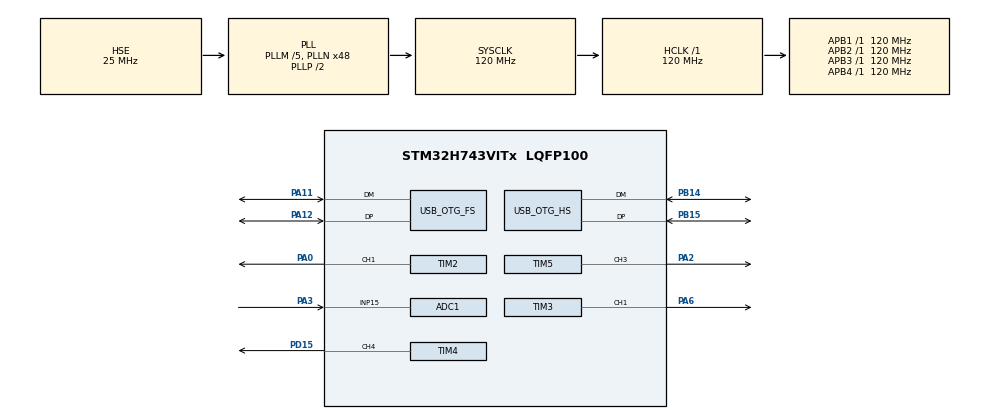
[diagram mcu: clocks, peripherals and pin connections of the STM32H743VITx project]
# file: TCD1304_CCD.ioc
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ADC1.Channel-0\#ChannelRegularConversion=ADC_CHANNEL_15
ADC1.ConversionDataManagement=ADC_CONVERSIONDATA_DMA_CIRCULAR
ADC1.ExternalTrigConv=ADC_EXTERNALTRIG_T4_CC4
ADC1.NbrOfConversionFlag=1
ADC1.OffsetNumber-0\#ChannelRegularConversion=ADC_OFFSET_NONE
ADC1.OffsetSignedSaturation-0\#ChannelRegularConversion=DISABLE
ADC1.Overrun=ADC_OVR_DATA_OVERWRITTEN
ADC1.Rank-0\#ChannelRegularConversion=1
ADC1.SamplingTime-0\#ChannelRegularConversion=ADC_SAMPLETIME_2CYCLES_5
ADC1.master=1
CORTEX_M7.default_mode_Activation=1
Dma.ADC1.0.Direction=DMA_PERIPH_TO_MEMORY
Dma.ADC1.0.EventEnable=DISABLE
Dma.ADC1.0.FIFOMode=DMA_FIFOMODE_DISABLE
Dma.ADC1.0.Instance=DMA1_Stream0
Dma.ADC1.0.MemDataAlignment=DMA_MDATAALIGN_HALFWORD
Dma.ADC1.0.MemInc=DMA_MINC_ENABLE
Dma.ADC1.0.Mode=DMA_CIRCULAR
Dma.ADC1.0.PeriphDataAlignment=DMA_PDATAALIGN_HALFWORD
Dma.ADC1.0.PeriphInc=DMA_PINC_DISABLE
Dma.ADC1.0.Polarity=HAL_DMAMUX_REQ_GEN_RISING
Dma.ADC1.0.Priority=DMA_PRIORITY_LOW
Dma.ADC1.0.RequestNumber=1
Dma.ADC1.0.SignalID=NONE
Dma.ADC1.0.SyncEnable=DISABLE
Dma.ADC1.0.SyncPolarity=HAL_DMAMUX_SYNC_NO_EVENT
Dma.ADC1.0.SyncRequestNumber=1
Dma.ADC1.0.SyncSignalID=NONE
Dma.Request0=ADC1
Mcu.Family=STM32H7
Mcu.Name=STM32H743VITx
Mcu.Package=LQFP100
NVIC.DMA1_Stream0_IRQn=true\:0\:0\:false\:false\:true\:false\:true\:true
NVIC.OTG_FS_IRQn=true\:0\:0\:false\:false\:true\:false\:true\:true
NVIC.OTG_HS_IRQn=true\:0\:0\:false\:false\:true\:false\:true\:true
NVIC.PriorityGroup=NVIC_PRIORITYGROUP_4
NVIC.TIM2_IRQn=true\:0\:0\:false\:false\:true\:true\:true\:true
NVIC.TIM6_DAC_IRQn=true\:15\:0\:false\:false\:true\:false\:true\:true
NVIC.TimeBase=TIM6_DAC_IRQn
NVIC.TimeBaseIP=TIM6
PA0.Signal=S_TIM2_CH1_ETR
PA11.Mode=Device_Only
PA11.Signal=USB_OTG_FS_DM
PA12.Mode=Device_Only
PA12.Signal=USB_OTG_FS_DP
PA2.Signal=S_TIM5_CH3
PA3.Signal=ADCx_INP15
PA6.Signal=S_TIM3_CH1
PB14.Mode=Device_Only_FS
PB14.Signal=USB_OTG_HS_DM
PB15.Mode=Device_Only_FS
PB15.Signal=USB_OTG_HS_DP
PD15.Signal=S_TIM4_CH4
PH0-OSC_IN\ (PH0).Mode=HSE-External-Oscillator
PH0-OSC_IN\ (PH0).Signal=RCC_OSC_IN
PH1-OSC_OUT\ (PH1).Mode=HSE-External-Oscillator
PH1-OSC_OUT\ (PH1).Signal=RCC_OSC_OUT
ProjectManager.HeapSize=0x200
ProjectManager.StackSize=0x400
ProjectManager.TargetToolchain=STM32CubeIDE
RCC.ADCFreq_Value=75000000
RCC.APB1Freq_Value=120000000
RCC.APB2Freq_Value=120000000
RCC.APB3Freq_Value=120000000
RCC.APB4Freq_Value=120000000
RCC.CortexFreq_Value=120000000
RCC.DIVM1=5
RCC.DIVM2=2
RCC.DIVN1=48
RCC.DIVN2=12
RCC.DIVQ1=5
RCC.HCLKFreq_Value=120000000
RCC.HSE_VALUE=25000000
RCC.PLL2FRACN=0
RCC.PLL3FRACN=0
RCC.PLLFRACN=0
RCC.PLLSourceVirtual=RCC_PLLSOURCE_HSE
RCC.SYSCLKFreq_VALUE=120000000
RCC.SYSCLKSource=RCC_SYSCLKSOURCE_PLLCLK
RCC.USBFreq_Value=48000000
SH.ADCx_INP15.0=ADC1_INP15,IN15-Single-Ended
SH.S_TIM2_CH1_ETR.0=TIM2_CH1,PWM Generation1 CH1
SH.S_TIM3_CH1.0=TIM3_CH1,PWM Generation1 CH1
SH.S_TIM4_CH4.0=TIM4_CH4,PWM Generation4 CH4
SH.S_TIM5_CH3.0=TIM5_CH3,PWM Generation3 CH3
TIM2.AutoReloadPreload=TIM_AUTORELOAD_PRELOAD_DISABLE
TIM2.Channel-PWM\ Generation1\ CH1=TIM_CHANNEL_1
TIM2.OCPolarity_1=TIM_OCPOLARITY_LOW
TIM2.Period=886560 - 1
TIM2.Pulse-PWM\ Generation1\ CH1=1200-1
TIM2.TIM_MasterOutputTrigger=TIM_TRGO_UPDATE
TIM2.TIM_MasterSlaveMode=TIM_MASTERSLAVEMODE_ENABLE
TIM3.AutoReloadPreload=TIM_AUTORELOAD_PRELOAD_DISABLE
TIM3.Channel-PWM\ Generation1\ CH1=TIM_CHANNEL_1
TIM3.OCPolarity_1=TIM_OCPOLARITY_HIGH
TIM3.Period=60-1
TIM3.Prescaler=0
TIM3.Pulse-PWM\ Generation1\ CH1=30
TIM4.AutoReloadPreload=TIM_AUTORELOAD_PRELOAD_DISABLE
TIM4.Channel-PWM\ Generation4\ CH4=TIM_CHANNEL_4
TIM4.OCPolarity_4=TIM_OCPOLARITY_HIGH
TIM4.Period=240-1
TIM4.Pulse-PWM\ Generation4\ CH4=60
TIM5.AutoReloadPreload=TIM_AUTORELOAD_PRELOAD_DISABLE
TIM5.Channel-PWM\ Generation3\ CH3=TIM_CHANNEL_3
TIM5.OCPolarity_3=TIM_OCPOLARITY_LOW
TIM5.Period=2400-1
TIM5.Prescaler=0
TIM5.Pulse-PWM\ Generation3\ CH3=480-1
TIM5.TIM_MasterOutputTrigger=TIM_TRGO_RESET
TIM5.TIM_MasterSlaveMode=TIM_MASTERSLAVEMODE_DISABLE
USB_DEVICE.CLASS_NAME_FS=CDC
USB_DEVICE.CLASS_NAME_HS=CDC
USB_DEVICE.VirtualMode-CDC_FS=Cdc
USB_DEVICE.VirtualMode-CDC_HS=Cdc
USB_DEVICE.VirtualModeFS=Cdc_FS
USB_DEVICE.VirtualModeHS=Cdc_HS
USB_OTG_FS.VirtualMode=Device_Only
USB_OTG_HS.VirtualMode-Device_Only_FS=Device_Only_FS
VP_MEMORYMAP_VS_MEMORYMAP.Mode=CurAppReg
VP_SYS_VS_tim6.Mode=TIM6
VP_TIM2_VS_ClockSourceINT.Mode=Internal
VP_TIM3_VS_ClockSourceINT.Mode=Internal
VP_TIM4_VS_ClockSourceINT.Mode=Internal
VP_TIM4_VS_ClockSourceITR.Mode=TriggerSource_ITR1
VP_TIM4_VS_ControllerModeReset.Mode=Reset Mode
VP_TIM5_VS_ClockSourceINT.Mode=Internal
VP_TIM5_VS_ClockSourceITR.Mode=TriggerSource_ITR1
VP_TIM5_VS_ControllerModeReset.Mode=Reset Mode
VP_USB_DEVICE_VS_USB_DEVICE_CDC_FS.Mode=CDC_FS
VP_USB_DEVICE_VS_USB_DEVICE_CDC_HS.Mode=CDC_HS
board=custom

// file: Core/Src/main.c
/* USER CODE BEGIN Header */
/**
 ******************************************************************************
 * @file           : main.c
 * @brief          : Main program body for TCD1304 CCD Driver (STM32H7)
 ******************************************************************************
 */
/* USER CODE END Header */
#include "main.h"
#include "usb_device.h"

/* USER CODE BEGIN Includes */
#include "usbd_cdc_if.h"
#include <stdio.h>
#include <string.h>
/* USER CODE END Includes */

/* USER CODE BEGIN PTD */
#define CCD_BUFFER_SIZE 3694 // 32 Dummies + 3648 Pixels + 14 Dummies

#pragma pack(push, 1)
typedef struct {
  uint16_t magic;     // 0xABCD
  uint16_t frame_num; // Rolling frame counter
  uint16_t pixels[CCD_BUFFER_SIZE];
} CCD_Frame_t;
#pragma pack(pop)
/* USER CODE END PTD */

ADC_HandleTypeDef hadc1;
DMA_HandleTypeDef hdma_adc1;

TIM_HandleTypeDef htim2;
TIM_HandleTypeDef htim3;
TIM_HandleTypeDef htim4;
TIM_HandleTypeDef htim5;

/* USER CODE BEGIN PV */
// Double-Buffer DMA: Two buffers in SRAM3 (non-cached on H7)
__attribute__((section(".sram3"),
               aligned(32))) uint16_t Buffer_A[CCD_BUFFER_SIZE];
__attribute__((section(".sram3"),
               aligned(32))) uint16_t Buffer_B[CCD_BUFFER_SIZE];

// USB Command Buffers
#define CMD_BUF_SIZE 64

// Application State
volatile uint8_t frame_ready = 0; // Set by ICG interrupt when frame is complete
volatile uint16_t *safe_buffer = Buffer_B; // Points to buffer safe to read
uint16_t frame_counter = 0;
CCD_Frame_t ccd_frame;

// Mode Control
volatile uint8_t ccd_mode = 0; // 0=Fast, 1=Stable(OneShot), 2=LongExposure
volatile uint8_t mode_update_pending = 0;

/* USER CODE END PV */

void SystemClock_Config(void);
static void MPU_Config(void);
static void MX_GPIO_Init(void);
static void MX_DMA_Init(void);
static void MX_ADC1_Init(void);
static void MX_TIM2_Init(void);
static void MX_TIM3_Init(void);
static void MX_TIM4_Init(void);
static void MX_TIM5_Init(void);

/* USER CODE BEGIN 0 */

// ADC/DMA callback - not used in single buffer mode
// ADC/DMA callback - Frame Complete
void HAL_ADC_ConvCpltCallback(ADC_HandleTypeDef *hadc) {
  if (hadc->Instance == ADC1) {
    // Frame capture complete - copy to transmission buffer
    ccd_frame.magic = 0xABCD;
    ccd_frame.frame_num = frame_counter++;
    memcpy(ccd_frame.pixels, (void *)Buffer_A, CCD_BUFFER_SIZE * 2);
    frame_ready = 1;
  }
}

// Send one frame of CCD data as binary (for oscilloscope)
// Note: ccd_frame is already populated by TIM2 interrupt
void Send_CCD_Frame_Binary(void) {
  // Send in chunks (USB FS max packet = 64 bytes)
  uint8_t *ptr = (uint8_t *)&ccd_frame;
  uint16_t remaining = sizeof(CCD_Frame_t);

  while (remaining > 0) {
    uint16_t chunk = (remaining > 512) ? 512 : remaining;
    CDC_Transmit_FS(ptr, chunk);
    ptr += chunk;
    remaining -= chunk;
    HAL_Delay(1); // Small delay to prevent buffer overflow
  }
}
/* USER CODE END 0 */

int main(void) {

  /* MPU Configuration--------------------------------------------------------*/
  MPU_Config();

  /* MCU Configuration--------------------------------------------------------*/

  /* Reset of all peripherals, Initializes the Flash interface and the Systick.
   */
  HAL_Init();

  /* Configure the system clock */
  SystemClock_Config();

  /* Initialize all configured peripherals */
  MX_GPIO_Init();
  MX_DMA_Init();
  MX_USB_DEVICE_Init();
  MX_ADC1_Init();
  MX_TIM2_Init();
  MX_TIM3_Init();
  MX_TIM4_Init();
  MX_TIM5_Init();
  /* USER CODE BEGIN 2 */

  // ========== DOUBLE-BUFFER DMA ==========
  // Two buffers swap automatically: while DMA writes to one, CPU reads the
  // other ICG period = 886560 = 3694 x 240 (exact sample count) TIM4 is
  // hardware-slaved to TIM2

  // HIGH Priority for DMA for stable data transfer
  HAL_NVIC_SetPriority(DMA1_Stream0_IRQn, 4, 0);
  HAL_NVIC_EnableIRQ(DMA1_Stream0_IRQn);

  // Lower priority for TIM2 ICG pulses
  HAL_NVIC_SetPriority(TIM2_IRQn, 5, 0);
  HAL_NVIC_EnableIRQ(TIM2_IRQn);

  // Wait for USB to enumerate
  HAL_Delay(3000);

  // ========== CRITICAL H7 FIXES (from ST Community forum) ==========
  // 1. Timer PSC is preloaded - first cycle runs at PSC=0 without this fix
  // Force update event to load PSC, then clear UIF to prevent spurious
  // interrupt
  __HAL_TIM_CLEAR_FLAG(&htim2, TIM_FLAG_UPDATE);
  __HAL_TIM_CLEAR_FLAG(&htim3, TIM_FLAG_UPDATE);
  __HAL_TIM_CLEAR_FLAG(&htim4, TIM_FLAG_UPDATE);
  __HAL_TIM_CLEAR_FLAG(&htim5, TIM_FLAG_UPDATE);

  TIM2->EGR = TIM_EGR_UG;
  TIM3->EGR = TIM_EGR_UG;
  TIM4->EGR = TIM_EGR_UG;
  TIM5->EGR = TIM_EGR_UG;

  __HAL_TIM_CLEAR_FLAG(&htim2, TIM_FLAG_UPDATE);
  __HAL_TIM_CLEAR_FLAG(&htim3, TIM_FLAG_UPDATE);
  __HAL_TIM_CLEAR_FLAG(&htim4, TIM_FLAG_UPDATE);
  __HAL_TIM_CLEAR_FLAG(&htim5, TIM_FLAG_UPDATE);

  // 2. ADC BOOST mode required when ADC clock > 20MHz (we have ~30MHz)
  MODIFY_REG(ADC1->CR, ADC_CR_BOOST_Msk, (0x3UL << ADC_CR_BOOST_Pos));

  // ADC calibration
  HAL_ADCEx_Calibration_Start(&hadc1, ADC_CALIB_OFFSET, ADC_SINGLE_ENDED);

  // ========== SYNCHRONIZED STARTUP ==========
  // Step 1: DMA is NO LONGER started here. It will start on the first ICG
  // interrupt. HAL_ADC_Start_DMA(&hadc1, (uint32_t *)Buffer_A,
  // CCD_BUFFER_SIZE);

  // Step 2: Reset all timer counters to 0
  __HAL_TIM_SET_COUNTER(&htim2, 0);
  __HAL_TIM_SET_COUNTER(&htim3, 0);
  __HAL_TIM_SET_COUNTER(&htim4, 0);
  __HAL_TIM_SET_COUNTER(&htim5, 0);

  // Step 3: Enable TIM2 update interrupt for ICG
  __HAL_TIM_ENABLE_IT(&htim2, TIM_IT_UPDATE);

  // Step 4: Start ONLY Master Clock (fM) running continuously
  HAL_TIM_PWM_Start(&htim3, TIM_CHANNEL_1);

  // Initial Start for Continuous Modes (0 and 2)
  if (ccd_mode != 1) {
    // Start other timers for continuous mode
    HAL_TIM_PWM_Start(&htim5, TIM_CHANNEL_3); // SH
    HAL_TIM_PWM_Start(&htim4, TIM_CHANNEL_4); // ADC Trigger
    HAL_TIM_PWM_Start(&htim2, TIM_CHANNEL_1); // ICG

    // Start DMA Loop
    HAL_ADC_Start_DMA(&hadc1, (uint32_t *)Buffer_A, CCD_BUFFER_SIZE);
  }

  /* USER CODE END 2 */

  /* Infinite loop */
  /* USER CODE BEGIN WHILE */
  while (1) {

    // --- MODE SWITCHING LOGIC ---
    if (mode_update_pending) {
      mode_update_pending = 0;

      // 1. Stop Everything
      HAL_TIM_PWM_Stop(&htim2, TIM_CHANNEL_1);
      HAL_TIM_PWM_Stop(&htim5, TIM_CHANNEL_3);
      HAL_TIM_PWM_Stop(&htim4, TIM_CHANNEL_4);
      HAL_ADC_Stop_DMA(&hadc1);

      // 2. Reconfigure TIM5 (SH) based on mode
      if (ccd_mode == 2) {
        // Full Integration (Long Exposure)
        __HAL_TIM_SET_AUTORELOAD(&htim5, 886560 - 1);
        __HAL_TIM_SET_COMPARE(&htim5, TIM_CHANNEL_3, 1200 - 1);
      } else {
        // Fast Shutter (20us) - Modes 0 and 1
        __HAL_TIM_SET_AUTORELOAD(&htim5, 2400 - 1);
        __HAL_TIM_SET_COMPARE(&htim5, TIM_CHANNEL_3, 480 - 1);
      }

      // 3. Reset Counters
      __HAL_TIM_SET_COUNTER(&htim2, 0);
      __HAL_TIM_SET_COUNTER(&htim3, 0);
      __HAL_TIM_SET_COUNTER(&htim4, 0);
      __HAL_TIM_SET_COUNTER(&htim5, 0);

      // 4. Restart if Continuous (Mode 0 or 2)
      if (ccd_mode == 0 || ccd_mode == 2) {
        __HAL_ADC_CLEAR_FLAG(&hadc1, ADC_FLAG_OVR);
        HAL_ADC_Start_DMA(&hadc1, (uint32_t *)Buffer_A, CCD_BUFFER_SIZE);

        HAL_TIM_PWM_Start(&htim5, TIM_CHANNEL_3);
        HAL_TIM_PWM_Start(&htim4, TIM_CHANNEL_4);
        HAL_TIM_PWM_Start(&htim2, TIM_CHANNEL_1);
      }
    }

    // --- EXECUTION LOGIC ---

    if (ccd_mode == 1) {
      // === MODE 1: ONE-SHOT STABLE ===

      // 1. Prepare DMA
      __HAL_ADC_CLEAR_FLAG(&hadc1, ADC_FLAG_OVR);
      HAL_ADC_Start_DMA(&hadc1, (uint32_t *)Buffer_A, CCD_BUFFER_SIZE);

      // 2. Reset Counters
      __HAL_TIM_SET_COUNTER(&htim2, 0);
      __HAL_TIM_SET_COUNTER(&htim4, 0);
      __HAL_TIM_SET_COUNTER(&htim5, 0);

      // 3. Start Timers
      HAL_TIM_PWM_Start(&htim5, TIM_CHANNEL_3);
      HAL_TIM_PWM_Start(&htim4, TIM_CHANNEL_4);
      HAL_TIM_PWM_Start(&htim2, TIM_CHANNEL_1);

      // 4. Wait for Frame
      while (!frame_ready) {
        if (mode_update_pending)
          break; // Exit if mode changed
      }

      // 5. Stop Timers
      HAL_TIM_PWM_Stop(&htim2, TIM_CHANNEL_1);
      HAL_TIM_PWM_Stop(&htim5, TIM_CHANNEL_3);
      HAL_TIM_PWM_Stop(&htim4, TIM_CHANNEL_4);

      if (frame_ready) {
        frame_ready = 0;
        Send_CCD_Frame_Binary();
      }

    } else {
      // === MODE 0 & 2: CONTINUOUS ===

      // Just wait for interrupt to set flag
      if (frame_ready) {
        frame_ready = 0;
        Send_CCD_Frame_Binary();
      }
    }

    // Optional delay
    // HAL_Delay(1);

    /* USER CODE END WHILE */

  }
}

void SystemClock_Config(void) {
  RCC_OscInitTypeDef RCC_OscInitStruct = {0};
  RCC_ClkInitTypeDef RCC_ClkInitStruct = {0};

  /** Supply configuration update enable
   */
  HAL_PWREx_ConfigSupply(PWR_LDO_SUPPLY);

  /** Configure the main internal regulator output voltage
   */
  __HAL_PWR_VOLTAGESCALING_CONFIG(PWR_REGULATOR_VOLTAGE_SCALE3);

  while (!__HAL_PWR_GET_FLAG(PWR_FLAG_VOSRDY)) {
  }

  /** Initializes the RCC Oscillators according to the specified parameters
   * in the RCC_OscInitTypeDef structure.
   */
  RCC_OscInitStruct.OscillatorType = RCC_OSCILLATORTYPE_HSE;
  RCC_OscInitStruct.HSEState = RCC_HSE_ON;
  RCC_OscInitStruct.PLL.PLLState = RCC_PLL_ON;
  RCC_OscInitStruct.PLL.PLLSource = RCC_PLLSOURCE_HSE;
  RCC_OscInitStruct.PLL.PLLM = 5;
  RCC_OscInitStruct.PLL.PLLN = 48;
  RCC_OscInitStruct.PLL.PLLP = 2;
  RCC_OscInitStruct.PLL.PLLQ = 5;
  RCC_OscInitStruct.PLL.PLLR = 2;
  RCC_OscInitStruct.PLL.PLLRGE = RCC_PLL1VCIRANGE_2;
  RCC_OscInitStruct.PLL.PLLVCOSEL = RCC_PLL1VCOWIDE;
  RCC_OscInitStruct.PLL.PLLFRACN = 0;
  if (HAL_RCC_OscConfig(&RCC_OscInitStruct) != HAL_OK) {
    Error_Handler();
  }

  /** Initializes the CPU, AHB and APB buses clocks
   */
  RCC_ClkInitStruct.ClockType = RCC_CLOCKTYPE_HCLK | RCC_CLOCKTYPE_SYSCLK |
                                RCC_CLOCKTYPE_PCLK1 | RCC_CLOCKTYPE_PCLK2 |
                                RCC_CLOCKTYPE_D3PCLK1 | RCC_CLOCKTYPE_D1PCLK1;
  RCC_ClkInitStruct.SYSCLKSource = RCC_SYSCLKSOURCE_PLLCLK;
  RCC_ClkInitStruct.SYSCLKDivider = RCC_SYSCLK_DIV1;
  RCC_ClkInitStruct.AHBCLKDivider = RCC_HCLK_DIV1;
  RCC_ClkInitStruct.APB3CLKDivider = RCC_APB3_DIV1;
  RCC_ClkInitStruct.APB1CLKDivider = RCC_APB1_DIV1;
  RCC_ClkInitStruct.APB2CLKDivider = RCC_APB2_DIV1;
  RCC_ClkInitStruct.APB4CLKDivider = RCC_APB4_DIV1;

  if (HAL_RCC_ClockConfig(&RCC_ClkInitStruct, FLASH_LATENCY_2) != HAL_OK) {
    Error_Handler();
  }
}

static void MX_ADC1_Init(void) {

  ADC_MultiModeTypeDef multimode = {0};
  ADC_ChannelConfTypeDef sConfig = {0};

  /** Common config
   */
  hadc1.Instance = ADC1;
  hadc1.Init.ClockPrescaler = ADC_CLOCK_ASYNC_DIV2;
  hadc1.Init.Resolution = ADC_RESOLUTION_16B;
  hadc1.Init.ScanConvMode = ADC_SCAN_DISABLE;
  hadc1.Init.EOCSelection = ADC_EOC_SINGLE_CONV;
  hadc1.Init.LowPowerAutoWait = DISABLE;
  hadc1.Init.ContinuousConvMode = DISABLE;
  hadc1.Init.NbrOfConversion = 1;
  hadc1.Init.DiscontinuousConvMode = DISABLE;
  hadc1.Init.ExternalTrigConv = ADC_EXTERNALTRIG_T4_CC4;
  hadc1.Init.ExternalTrigConvEdge = ADC_EXTERNALTRIGCONVEDGE_RISING;
  hadc1.Init.ConversionDataManagement = ADC_CONVERSIONDATA_DMA_ONESHOT;
  hadc1.Init.Overrun = ADC_OVR_DATA_OVERWRITTEN;
  hadc1.Init.LeftBitShift = ADC_LEFTBITSHIFT_NONE;
  hadc1.Init.OversamplingMode = DISABLE;
  hadc1.Init.Oversampling.Ratio = 1;
  if (HAL_ADC_Init(&hadc1) != HAL_OK) {
    Error_Handler();
  }

  /** Configure the ADC multi-mode
   */
  multimode.Mode = ADC_MODE_INDEPENDENT;
  if (HAL_ADCEx_MultiModeConfigChannel(&hadc1, &multimode) != HAL_OK) {
    Error_Handler();
  }

  /** Configure Regular Channel
   */
  sConfig.Channel = ADC_CHANNEL_15;
  sConfig.Rank = ADC_REGULAR_RANK_1;
  sConfig.SamplingTime = ADC_SAMPLETIME_2CYCLES_5;
  sConfig.SingleDiff = ADC_SINGLE_ENDED;
  sConfig.OffsetNumber = ADC_OFFSET_NONE;
  sConfig.Offset = 0;
  sConfig.OffsetSignedSaturation = DISABLE;
  if (HAL_ADC_ConfigChannel(&hadc1, &sConfig) != HAL_OK) {
    Error_Handler();
  }
}

static void MX_TIM2_Init(void) {

  TIM_ClockConfigTypeDef sClockSourceConfig = {0};
  TIM_MasterConfigTypeDef sMasterConfig = {0};
  TIM_OC_InitTypeDef sConfigOC = {0};

  htim2.Instance = TIM2;
  htim2.Init.Prescaler = 0;
  htim2.Init.CounterMode = TIM_COUNTERMODE_UP;
  htim2.Init.Period = 886560 - 1; // 3694 samples × 240 = exact DMA buffer match
  htim2.Init.ClockDivision = TIM_CLOCKDIVISION_DIV1;
  htim2.Init.AutoReloadPreload = TIM_AUTORELOAD_PRELOAD_DISABLE;
  if (HAL_TIM_Base_Init(&htim2) != HAL_OK) {
    Error_Handler();
  }
  // CRITICAL: Enable URS (Update Request Source) to prevent update interrupts
  // from software events This ensures update interrupts only fire on counter
  // overflow, not on EGR writes
  TIM2->CR1 |= TIM_CR1_URS;
  sClockSourceConfig.ClockSource = TIM_CLOCKSOURCE_INTERNAL;
  if (HAL_TIM_ConfigClockSource(&htim2, &sClockSourceConfig) != HAL_OK) {
    Error_Handler();
  }
  if (HAL_TIM_PWM_Init(&htim2) != HAL_OK) {
    Error_Handler();
  }
  sConfigOC.OCMode = TIM_OCMODE_PWM1;
  sConfigOC.Pulse = 1200 - 1;
  sConfigOC.OCPolarity =
      TIM_OCPOLARITY_LOW; // Original working value (unchanged)
  sConfigOC.OCFastMode = TIM_OCFAST_DISABLE;
  if (HAL_TIM_PWM_ConfigChannel(&htim2, &sConfigOC, TIM_CHANNEL_1) != HAL_OK) {
    Error_Handler();
  }
  // CRITICAL FIX: TIM_TRGO_UPDATE triggers when counter overflows (counter = 0)
  // This happens at the START of ICG pulse, which is correct for TCD1304
  // TIM4 will reset at the start of each ICG period, ensuring ADC samples align
  // with readout window
  sMasterConfig.MasterOutputTrigger = TIM_TRGO_UPDATE;
  sMasterConfig.MasterSlaveMode = TIM_MASTERSLAVEMODE_ENABLE;
  if (HAL_TIMEx_MasterConfigSynchronization(&htim2, &sMasterConfig) != HAL_OK) {
    Error_Handler();
  }
  HAL_TIM_MspPostInit(&htim2);
}

static void MX_TIM3_Init(void) {

  TIM_ClockConfigTypeDef sClockSourceConfig = {0};
  TIM_MasterConfigTypeDef sMasterConfig = {0};
  TIM_OC_InitTypeDef sConfigOC = {0};

  htim3.Instance = TIM3;
  htim3.Init.Prescaler = 0;
  htim3.Init.CounterMode = TIM_COUNTERMODE_UP;
  htim3.Init.Period = 60 - 1;
  htim3.Init.ClockDivision = TIM_CLOCKDIVISION_DIV1;
  htim3.Init.AutoReloadPreload = TIM_AUTORELOAD_PRELOAD_DISABLE;
  if (HAL_TIM_Base_Init(&htim3) != HAL_OK) {
    Error_Handler();
  }
  sClockSourceConfig.ClockSource = TIM_CLOCKSOURCE_INTERNAL;
  if (HAL_TIM_ConfigClockSource(&htim3, &sClockSourceConfig) != HAL_OK) {
    Error_Handler();
  }
  if (HAL_TIM_PWM_Init(&htim3) != HAL_OK) {
    Error_Handler();
  }
  sMasterConfig.MasterOutputTrigger = TIM_TRGO_RESET;
  sMasterConfig.MasterSlaveMode = TIM_MASTERSLAVEMODE_DISABLE;
  if (HAL_TIMEx_MasterConfigSynchronization(&htim3, &sMasterConfig) != HAL_OK) {
    Error_Handler();
  }
  sConfigOC.OCMode = TIM_OCMODE_PWM1;
  sConfigOC.Pulse = 30;
  sConfigOC.OCPolarity =
      TIM_OCPOLARITY_HIGH; // REVERTED: Original working value
  sConfigOC.OCFastMode = TIM_OCFAST_DISABLE;
  if (HAL_TIM_PWM_ConfigChannel(&htim3, &sConfigOC, TIM_CHANNEL_1) != HAL_OK) {
    Error_Handler();
  }
  HAL_TIM_MspPostInit(&htim3);
}

static void MX_TIM4_Init(void) {

  TIM_ClockConfigTypeDef sClockSourceConfig = {0};
  TIM_SlaveConfigTypeDef sSlaveConfig = {0};
  TIM_MasterConfigTypeDef sMasterConfig = {0};
  TIM_OC_InitTypeDef sConfigOC = {0};

  htim4.Instance = TIM4;
  htim4.Init.Prescaler = 0;
  htim4.Init.CounterMode = TIM_COUNTERMODE_UP;
  htim4.Init.Period = 240 - 1;
  htim4.Init.ClockDivision = TIM_CLOCKDIVISION_DIV1;
  htim4.Init.AutoReloadPreload = TIM_AUTORELOAD_PRELOAD_DISABLE;
  if (HAL_TIM_Base_Init(&htim4) != HAL_OK) {
    Error_Handler();
  }
  sClockSourceConfig.ClockSource = TIM_CLOCKSOURCE_INTERNAL;
  if (HAL_TIM_ConfigClockSource(&htim4, &sClockSourceConfig) != HAL_OK) {
    Error_Handler();
  }
  if (HAL_TIM_PWM_Init(&htim4) != HAL_OK) {
    Error_Handler();
  }
  sSlaveConfig.SlaveMode = TIM_SLAVEMODE_RESET;
  sSlaveConfig.InputTrigger = TIM_TS_ITR1;
  if (HAL_TIM_SlaveConfigSynchro(&htim4, &sSlaveConfig) != HAL_OK) {
    Error_Handler();
  }
  sMasterConfig.MasterOutputTrigger = TIM_TRGO_RESET;
  sMasterConfig.MasterSlaveMode = TIM_MASTERSLAVEMODE_DISABLE;
  if (HAL_TIMEx_MasterConfigSynchronization(&htim4, &sMasterConfig) != HAL_OK) {
    Error_Handler();
  }
  sConfigOC.OCMode = TIM_OCMODE_PWM1;
  sConfigOC.Pulse = 60;
  sConfigOC.OCPolarity = TIM_OCPOLARITY_HIGH;
  sConfigOC.OCFastMode = TIM_OCFAST_DISABLE;
  if (HAL_TIM_PWM_ConfigChannel(&htim4, &sConfigOC, TIM_CHANNEL_4) != HAL_OK) {
    Error_Handler();
  }
  HAL_TIM_MspPostInit(&htim4);
}

static void MX_TIM5_Init(void) {

  TIM_ClockConfigTypeDef sClockSourceConfig = {0};
  TIM_SlaveConfigTypeDef sSlaveConfig = {0};
  TIM_MasterConfigTypeDef sMasterConfig = {0};
  TIM_OC_InitTypeDef sConfigOC = {0};

  htim5.Instance = TIM5;
  htim5.Init.Prescaler = 0;
  htim5.Init.CounterMode = TIM_COUNTERMODE_UP;
  htim5.Init.Period = 2400 - 1; // 20us integration time (50kHz)
  htim5.Init.ClockDivision = TIM_CLOCKDIVISION_DIV1;
  htim5.Init.AutoReloadPreload = TIM_AUTORELOAD_PRELOAD_DISABLE;
  if (HAL_TIM_Base_Init(&htim5) != HAL_OK) {
    Error_Handler();
  }
  sClockSourceConfig.ClockSource = TIM_CLOCKSOURCE_INTERNAL;
  if (HAL_TIM_ConfigClockSource(&htim5, &sClockSourceConfig) != HAL_OK) {
    Error_Handler();
  }
  if (HAL_TIM_PWM_Init(&htim5) != HAL_OK) {
    Error_Handler();
  }
  sSlaveConfig.SlaveMode = TIM_SLAVEMODE_RESET;
  sSlaveConfig.InputTrigger =
      TIM_TS_ITR1; // Changed to ITR1 to match TIM4 (TIM2 Master)
  if (HAL_TIM_SlaveConfigSynchro(&htim5, &sSlaveConfig) != HAL_OK) {
    Error_Handler();
  }
  sMasterConfig.MasterOutputTrigger = TIM_TRGO_RESET;
  sMasterConfig.MasterSlaveMode = TIM_MASTERSLAVEMODE_DISABLE;
  if (HAL_TIMEx_MasterConfigSynchronization(&htim5, &sMasterConfig) != HAL_OK) {
    Error_Handler();
  }
  sConfigOC.OCMode = TIM_OCMODE_PWM1;
  sConfigOC.Pulse = 480 - 1; // 4us Pulse Width

  // TESTING: Changed to LOW for Active-Low at CCD (per TCD1304 datasheet
  // requirement) STM32 outputs LOW during pulse → CCD sees LOW (Active-Low
  // signal)
  sConfigOC.OCPolarity =
      TIM_OCPOLARITY_LOW; // Changed from HIGH to match datasheet
  sConfigOC.OCFastMode = TIM_OCFAST_DISABLE;
  if (HAL_TIM_PWM_ConfigChannel(&htim5, &sConfigOC, TIM_CHANNEL_3) != HAL_OK) {
    Error_Handler();
  }
  HAL_TIM_MspPostInit(&htim5);
}

static void MX_DMA_Init(void) {

  /* DMA controller clock enable */
  __HAL_RCC_DMA1_CLK_ENABLE();

  /* DMA interrupt init */
  /* DMA1_Stream0_IRQn interrupt configuration */
  HAL_NVIC_SetPriority(DMA1_Stream0_IRQn, 0, 0);
  HAL_NVIC_EnableIRQ(DMA1_Stream0_IRQn);
}

static void MX_GPIO_Init(void) {

  /* GPIO Ports Clock Enable */
  __HAL_RCC_GPIOH_CLK_ENABLE();
  __HAL_RCC_GPIOA_CLK_ENABLE();
  __HAL_RCC_GPIOB_CLK_ENABLE();
  __HAL_RCC_GPIOD_CLK_ENABLE();

}

/* MPU Configuration */

void MPU_Config(void) {
  MPU_Region_InitTypeDef MPU_InitStruct = {0};

  /* Disables the MPU */
  HAL_MPU_Disable();

  /** Initializes and configures the Region and the memory to be protected
   */
  MPU_InitStruct.Enable = MPU_REGION_ENABLE;
  MPU_InitStruct.Number = MPU_REGION_NUMBER0;
  MPU_InitStruct.BaseAddress = 0x30000000;     /* RAM_D2 (SRAM1+2+3) */
  MPU_InitStruct.Size = MPU_REGION_SIZE_512KB; /* Covers all D2 RAM */
  MPU_InitStruct.SubRegionDisable = 0x00;
  MPU_InitStruct.TypeExtField = MPU_TEX_LEVEL0;
  MPU_InitStruct.AccessPermission = MPU_REGION_FULL_ACCESS;
  MPU_InitStruct.DisableExec = MPU_INSTRUCTION_ACCESS_DISABLE;
  MPU_InitStruct.IsShareable = MPU_ACCESS_SHAREABLE;
  MPU_InitStruct.IsCacheable = MPU_ACCESS_NOT_CACHEABLE;
  MPU_InitStruct.IsBufferable = MPU_ACCESS_NOT_BUFFERABLE;

  HAL_MPU_ConfigRegion(&MPU_InitStruct);
  /* Enables the MPU */
  HAL_MPU_Enable(MPU_PRIVILEGED_DEFAULT);
}

void HAL_TIM_PeriodElapsedCallback(TIM_HandleTypeDef *htim) {
  if (htim->Instance == TIM6) {
    HAL_IncTick();
  }
  /* USER CODE BEGIN Callback 1 */
  // TIM2 (ICG) interrupt: Frame Start
  // This interrupt validates the start of a new frame.
  if (htim->Instance == TIM2) { // ICG interrupt
    // Mode 0/2: Continuous - Restart DMA here if using Normal Mode
    if (ccd_mode != 1) {
      // Clear OVR
      __HAL_ADC_CLEAR_FLAG(&hadc1, ADC_FLAG_OVR);
      // Restart DMA
      HAL_ADC_Start_DMA(&hadc1, (uint32_t *)Buffer_A, CCD_BUFFER_SIZE);
    }
  }
  /* USER CODE END Callback 1 */
}

void Error_Handler(void) {
  __disable_irq();
  while (1) {
  }
}
#ifdef USE_FULL_ASSERT
/**
 * @brief  Reports the name of the source file and the source line number
 *         where the assert_param error has occurred.
 * @param  file: pointer to the source file name
 * @param  line: assert_param error line source number
 * @retval None
 */
void assert_failed(uint8_t *file, uint32_t line) {
  /* USER CODE BEGIN 6 */
  /* User can add his own implementation to report the file name and line
     number, ex: printf("Wrong parameters value: file %s on line %d\r\n", file,
     line) */
  /* USER CODE END 6 */
}
#endif /* USE_FULL_ASSERT */
